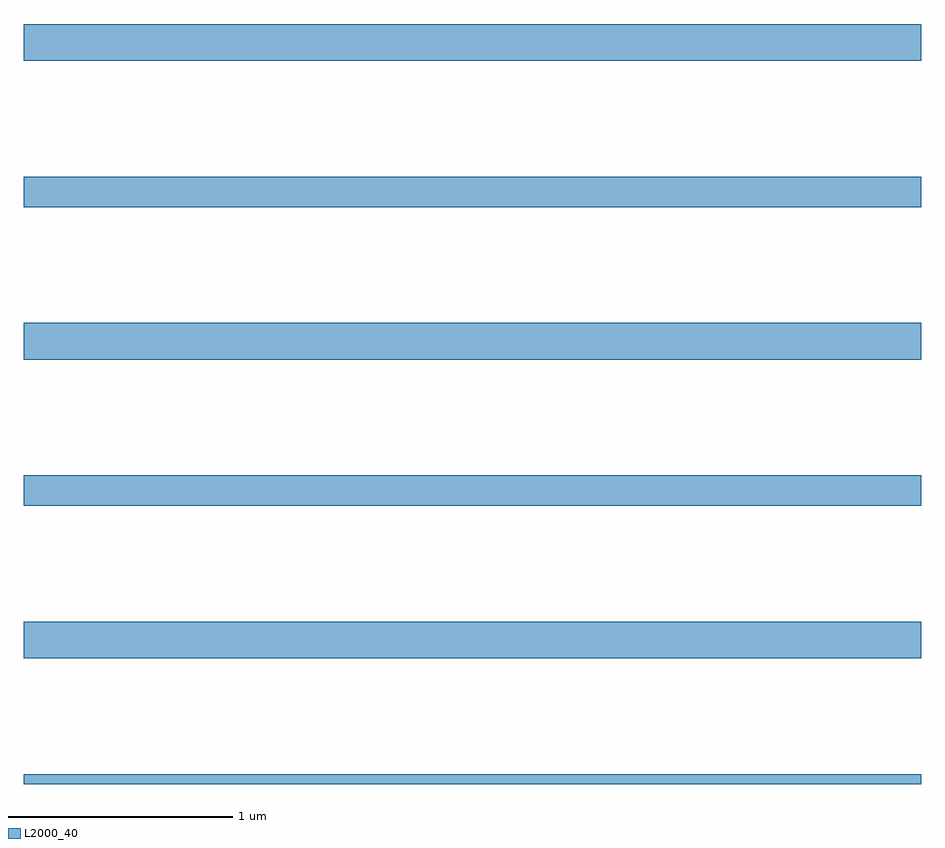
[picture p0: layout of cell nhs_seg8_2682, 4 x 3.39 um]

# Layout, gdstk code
import gdstk
lib = gdstk.Library(unit=1e-6, precision=1e-09)
def R(c, l, rs):  # rectangles x0, y0, x1, y1
    for r in rs: c.add(gdstk.rectangle(r[:2], r[2:], *l))
def A(c, l, x, y, w, h, nx, ny, dx, dy):  # array of equal rectangles
    R(c, l, [(x+i*dx, y+j*dy, x+i*dx+w, y+j*dy+h) for i in range(nx) for j in range(ny)])
L2000_40 = (2000, 40)

nhs_seg8_2682 = lib.new_cell('nhs_seg8_2682')
A(nhs_seg8_2682, L2000_40, 279, 1156.46, 4, 0.164, 1, 3, 0, 1.332)
R(nhs_seg8_2682, L2000_40, [(279,1155.9,283,1155.944), (279,1157.14,283,1157.276), (279,1158.472,283,1158.608)])

lib.write_gds('nhs_seg8_2682.gds')
